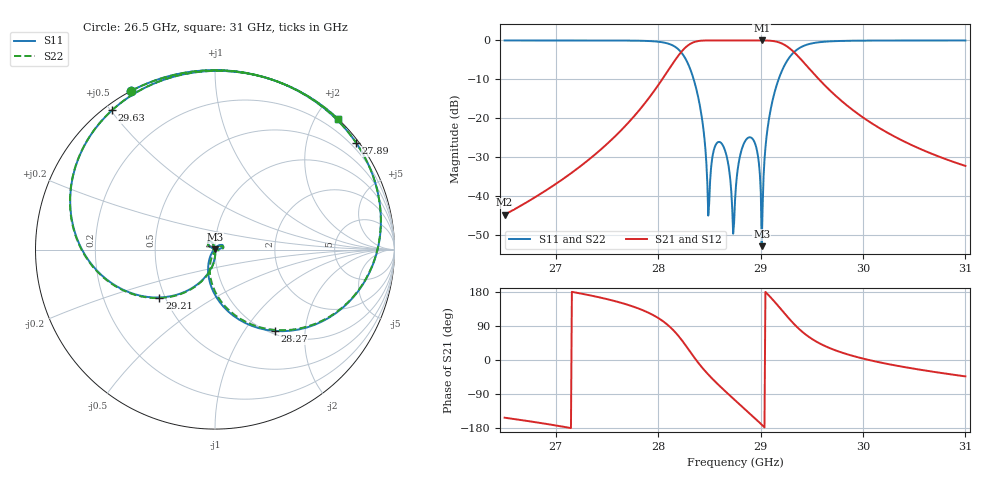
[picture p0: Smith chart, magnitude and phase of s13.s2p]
! Touchstone file from project Ka_PF
! Exported from HFSS 15.0.0
! Variables:
!  AA = 0.34in
!  BB = 0.145in
!  M01 = 0.166in
!  M11 = 0.2126in
!  M12 = 0.1115in
!  M22 = 0.2362in
!  PL = 0.3in
!  RR = 0.035in
!  TT = 0.04in
!Data is not renormalized
# GHZ S DB
! Modal data exported
! Port[1] = 1:1
! Port[2] = 2:1
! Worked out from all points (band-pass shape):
!   501 points, 26.5 GHz to 31 GHz, reference per port
!   highest |S21| = 0.00 dB at 29.01 GHz (marker M1); lowest = -44.8 dB at 26.5 GHz (marker M2)
!   |S21| within 3 dB of the highest: 28.22 GHz to 29.33 GHz (1.102 GHz wide, 3.83 % of centre)
!   lowest |S11| = -52.9 dB at 29.01 GHz (marker M3), VSWR 1.00
!   |S11| at or under -10 dB: 28.35 GHz to 29.18 GHz (829.1 MHz wide, 2.88 % of centre)
!   |S22| runs from -52.9 to 0.0 dB; largest |S21 - S12| = 2.3e-14
!   S11 on the Smith chart (normalised r, x): 26.5 GHz: 0.00, +0.60; 27.89 GHz: 0.07, +2.98; 28.27 GHz: 1.05, -1.39; 29.21 GHz: 0.47, -0.30; 29.63 GHz: 0.02, +0.51; 31 GHz: 0.00, +2.31
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26.5  -0.00 117.9  -44.81 -152.2  -44.81 -152.2  -0.00 117.8
! Gamma ! -0 419.68203739268 -0 419.682070897229
! Port Impedance 262.306152756645 0 262.308749200601 0
27.256  -0.00 84.9  -32.02 174.8  -32.02 174.8  -0.00 84.8
27.886  -0.12 37.1  -15.60 127.1  -15.60 127.1  -0.12 37.1
28.003  -0.33 20.2  -11.39 110.3  -11.39 110.3  -0.33 20.4
28.147  -1.35 -11.3  -5.74 78.9  -5.74 78.9  -1.35 -11.0
28.273  -5.01 -53.8  -1.65 36.7  -1.65 36.7  -5.01 -52.9
28.417  -18.27 -108.4  -0.07 -16.0  -0.07 -16.0  -18.27 -103.7
28.489  -45.03 172.8  -0.00 -38.3  -0.00 -38.3  -45.03 -69.3
28.543  -28.21 43.2  -0.01 -53.4  -0.01 -53.4  -28.21 30.0
28.606  -26.18 24.7  -0.01 -70.0  -0.01 -70.0  -26.18 15.3
28.75  -41.25 145.0  -0.00 -106.1  -0.00 -106.1  -41.25 -177.2
28.795  -30.21 148.5  -0.00 -117.1  -0.00 -117.1  -30.21 157.3
28.885  -24.93 129.5  -0.01 -139.1  -0.01 -139.1  -24.93 132.4
28.957  -27.44 112.3  -0.01 -156.8  -0.01 -156.8  -27.44 114.0
29.011  -52.89 98.8  -0.00 -170.7  -0.00 -170.7  -52.90 99.0
29.083  -19.97 -100.8  -0.04 169.6  -0.04 169.6  -19.97 -99.9
29.209  -7.76 -139.3  -0.80 131.0  -0.80 131.0  -7.76 -138.7
29.353  -2.41 177.5  -3.71 87.7  -3.71 87.7  -2.41 177.9
29.506  -0.72 144.6  -8.15 54.8  -8.15 54.8  -0.72 144.9
29.632  -0.31 126.3  -11.68 36.4  -11.68 36.4  -0.31 126.5
30.253  -0.02 78.8  -23.93 -11.1  -23.93 -11.1  -0.02 78.9
31  -0.00 46.7  -32.26 -43.3  -32.26 -43.3  -0.00 46.8
